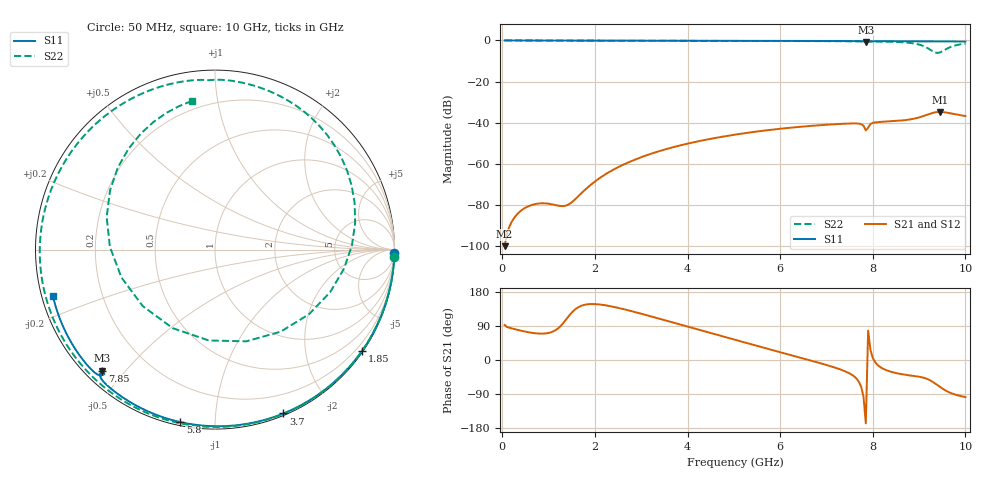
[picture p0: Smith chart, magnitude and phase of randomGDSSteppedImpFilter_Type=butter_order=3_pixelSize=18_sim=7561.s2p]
! freq	dB(S11)	phase(S11)	dB(S12)	phase(S12)
!  dB(S21)	phase(S21)	dB(S22)	phase(S22)
!S-par simulation data
#  GHz  S  DB  R 50
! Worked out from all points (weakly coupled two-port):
!   200 points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, 50 MHz to 10 GHz, reference 50 ohm
!   highest |S21| = -34.74 dB at 9.45 GHz (marker M1); lowest = -100.0 dB at 50 MHz (marker M2)
!   lowest |S11| = -0.7 dB at 7.85 GHz (marker M3), VSWR 24.64, Z = 2.41 - j21.7 ohm
!   |S11| at or under -10 dB: nowhere
!   |S22| runs from -6.1 to 0.0 dB; largest |S21 - S12| = 0
!   S11 on the Smith chart (normalised r, x): 50 MHz: open; 1.85 GHz: 0.03, -3.20; 3.7 GHz: 0.02, -1.50; 5.8 GHz: 0.02, -0.82; 7.85 GHz: 0.05, -0.43; 10 GHz: 0.03, -0.14
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0.05  -0.00 -1.0  -100.03 92.5  -100.03 92.5  -0.00 -2.4
0.65  -0.02 -12.3  -79.90 71.5  -79.90 71.5  -0.04 -30.3
1.4  -0.04 -26.4  -80.09 110.4  -80.09 110.4  -0.08 -63.2
1.75  -0.04 -32.8  -73.38 144.8  -73.38 144.8  -0.09 -77.4
1.85  -0.04 -34.7  -71.34 147.1  -71.34 147.1  -0.09 -81.4
2.5  -0.06 -46.4  -61.64 137.6  -61.64 137.6  -0.12 -105.4
3.4  -0.08 -62.2  -53.75 108.7  -53.75 108.7  -0.14 -135.0
3.7  -0.09 -67.3  -51.85 98.4  -51.85 98.4  -0.16 -144.1
5.05  -0.14 -89.5  -45.71 52.4  -45.71 52.4  -0.21 177.5
5.8  -0.17 -101.3  -43.44 27.4  -43.44 27.4  -0.25 156.8
6.7  -0.23 -115.1  -41.47 -2.6  -41.47 -2.6  -0.31 131.0
7.7  -0.34 -130.7  -40.45 -57.4  -40.45 -57.4  -0.43 97.9
7.85  -0.71 -132.9  -43.70 -167.2  -43.70 -167.2  -0.50 92.2
8  -0.40 -133.2  -40.07 5.6  -40.07 5.6  -0.48 86.1
8.35  -0.36 -139.1  -39.36 -29.4  -39.36 -29.4  -0.62 69.2
8.75  -0.40 -145.1  -38.58 -39.8  -38.58 -39.8  -1.08 41.2
9.05  -0.43 -149.6  -37.09 -45.4  -37.09 -45.4  -2.34 1.9
9.2  -0.45 -151.9  -35.92 -51.3  -35.92 -51.3  -3.93 -34.4
9.3  -0.46 -153.4  -35.19 -58.0  -35.19 -58.0  -5.35 -71.2
9.45  -0.48 -155.6  -34.74 -70.8  -34.74 -70.8  -5.83 -142.0
9.65  -0.50 -158.6  -35.32 -85.3  -35.32 -85.3  -3.46 150.5
10  -0.54 -163.9  -36.74 -97.9  -36.74 -97.9  -1.54 99.0
